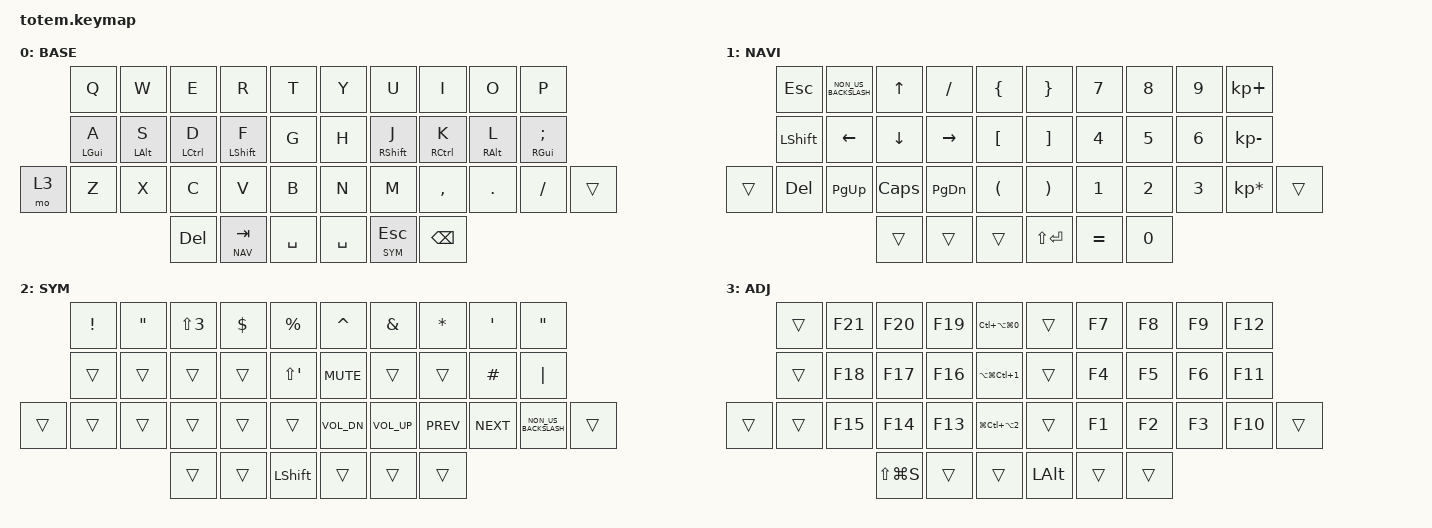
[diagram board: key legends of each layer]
//
//                                                        ▀▀▀▀▀     ▀▀▀▀▀          ▀▀█▀▀
//                                                        ▄▀▀▀▄  ▄  ▄▀▀▀▄  ▄  ▄▀▀▀▄  █  ▄▀▀▀▄
//                                                        █   █  █  █   █  █  █   █  █  █   █
//                                                         ▀▀▀   █   ▀▀▀   █   ▀▀▀   ▀   ▀▀▀
//                                                               █      ▄▄▄█▄▄▄    █   █  
//                                                               ▀      █  █  █     █▄█
//                                                             ▀▀▀▀▀    █  █  █      ▀
//                                                                      ▀  ▀  ▀
//
// ▄▄▄▄▄▄▄▄▄▄▄▄▄▄▄▄▄▄▄▄▄▄▄▄▄▄▄▄▄▄▄▄▄▄▄▄▄▄▄▄▄▄▄▄▄▄▄▄▄▄▄▄▄▄▄▄▄▄▄▄▄▄▄▄▄▄▄▄▄▄▄▄▄▄▄▄▄▄▄▄▄▄▄▄▄▄▄▄▄▄▄▄▄▄▄▄▄▄▄▄▄▄▄▄▄▄▄▄▄▄▄▄▄▄▄▄▄▄▄▄▄▄▄▄▄▄▄▄▄▄▄▄▄▄▄▄▄▄▄▄▄▄▄▄▄▄▄▄▄

#include <behaviors.dtsi>
#include <dt-bindings/zmk/keys.h>

#define BASE 0
#define NAV  1
#define SYM  2
#define ADJ  3

&mt {
    quick-tap-ms = <200>;
    global-quick-tap;
    flavor = "tap-preferred";
    tapping-term-ms = <400>;
};

/ {
    combos {
        compatible = "zmk,combos";

        combo_esc {
            timeout-ms = <50>;
            key-positions = <0 1>;
            bindings = <&kp ESC>;
        };

        Enter {
            bindings = <&kp ENTER>;
            key-positions = <34 35>;
        };
    };

    keymap {
        compatible = "zmk,keymap";

        // ▄▄▄▄▄▄▄▄▄▄▄▄▄▄▄▄▄▄▄▄▄▄▄▄▄▄▄▄▄▄▄▄▄▄▄▄▄▄▄▄▄▄▄▄▄▄▄▄▄▄▄▄▄▄▄▄▄▄▄▄▄▄▄▄▄▄▄▄▄▄▄▄▄▄▄▄▄▄▄▄▄▄▄▄▄▄▄▄▄▄▄▄▄▄▄▄▄▄▄▄▄▄▄▄▄▄▄▄▄▄▄▄▄▄▄▄▄▄▄▄▄▄▄▄▄▄▄▄▄▄▄▄▄▄▄▄▄▄▄▄▄▄▄▄▄▄▄▄▄

        base_layer {
            // ┏━━━━━━━━━━━━━━━━━━━━━━━━━━━━━━━━━━━━━━━┓

            label = "BASE";

            // ┗━━━━━━━━━━━━━━━━━━━━━━━━━━━━━━━━━━━━━━━┛
            //             ┏━━━━━━━━━━━┳━━━━━━━━━━━┳━━━━━━━━━━━┳━━━━━━━━━━━┳━━━━━━━━━━━┓   ┏━━━━━━━━━━━┳━━━━━━━━━━━┳━━━━━━━━━━━┳━━━━━━━━━━━┳━━━━━━━━━━━┓
            //             ┃     Q     ┃     W     ┃     E     ┃     R     ┃     T     ┃   ┃     Y     ┃     U     ┃     I     ┃     O     ┃     P     ┃
            //             ┣━━━━━━━━━━━╋━━━━━━━━━━━╋━━━━━━━━━━━╋━━━━━━━━━━━╋━━━━━━━━━━━┫   ┣━━━━━━━━━━━╋━━━━━━━━━━━╋━━━━━━━━━━━╋━━━━━━━━━━━╋━━━━━━━━━━━┫
            //             ┃     A     ┃     S     ┃     D     ┃     F     ┃     G     ┃   ┃     H     ┃     J     ┃     K     ┃     L     ┃     ;     ┃
            // ┏━━━━━━━━━━━╋━━━━━━━━━━━╋━━━━━━━━━━━╋━━━━━━━━━━━╋━━━━━━━━━━━╋━━━━━━━━━━━┫   ┣━━━━━━━━━━━╋━━━━━━━━━━━╋━━━━━━━━━━━╋━━━━━━━━━━━╋━━━━━━━━━━━╋━━━━━━━━━━━┓
            // ┃     q     ┃     Z     ┃     X     ┃     C     ┃     V     ┃     B     ┃   ┃     N     ┃     M     ┃     ,     ┃     .     ┃     /     ┃     \     ┃
            // ┗━━━━━━━━━━━┻━━━━━━━━━━━┻━━━━━━━━━━━╋━━━━━━━━━━━╋━━━━━━━━━━━╋━━━━━━━━━━━┫   ┣━━━━━━━━━━━╋━━━━━━━━━━━╋━━━━━━━━━━━╋━━━━━━━━━━━┻━━━━━━━━━━━┻━━━━━━━━━━━┛
            //                                     ┃    DEL    ┃    TAB    ┃    SPC    ┃   ┃   ENTER   ┃           ┃   BSPC    ┃
            //                                     ┗━━━━━━━━━━━┻━━━━━━━━━━━┻━━━━━━━━━━━┛   ┗━━━━━━━━━━━┻━━━━━━━━━━━┻━━━━━━━━━━━┛

            bindings = <
       &kp Q       &kp W       &kp E        &kp R        &kp T        &kp Y      &kp U        &kp I        &kp O       &kp P
       &mt LGUI A  &mt LALT S  &mt LCTRL D  &mt LSHFT F  &kp G        &kp H      &mt RSHFT J  &mt RCTRL K  &mt RALT L  &mt RGUI SEMI
&mo 3  &kp Z       &kp X       &kp C        &kp V        &kp B        &kp N      &kp M        &kp COMMA    &kp DOT     &kp FSLH       &trans
                               &kp DEL      &lt NAV TAB  &kp SPACE    &kp SPACE  &lt SYM ESC  &kp BSPC
            >;
        };

        // ▄▄▄▄▄▄▄▄▄▄▄▄▄▄▄▄▄▄▄▄▄▄▄▄▄▄▄▄▄▄▄▄▄▄▄▄▄▄▄▄▄▄▄▄▄▄▄▄▄▄▄▄▄▄▄▄▄▄▄▄▄▄▄▄▄▄▄▄▄▄▄▄▄▄▄▄▄▄▄▄▄▄▄▄▄▄▄▄▄▄▄▄▄▄▄▄▄▄▄▄▄▄▄▄▄▄▄▄▄▄▄▄▄▄▄▄▄▄▄▄▄▄▄▄▄▄▄▄▄▄▄▄▄▄▄▄▄▄▄▄▄▄▄▄▄▄▄▄▄

        nav_layer {
            // ┏━━━━━━━━━━━━━━━━━━━━━━━━━━━━━━━━━━━━━━━┓

            label = "NAVI";

            // ┗━━━━━━━━━━━━━━━━━━━━━━━━━━━━━━━━━━━━━━━┛
            //             ┏━━━━━━━━━━━┳━━━━━━━━━━━┳━━━━━━━━━━━┳━━━━━━━━━━━┳━━━━━━━━━━━┓   ┏━━━━━━━━━━━┳━━━━━━━━━━━┳━━━━━━━━━━━┳━━━━━━━━━━━┳━━━━━━━━━━━┓
            //             ┃           ┃           ┃     UP    ┃           ┃     {     ┃   ┃     }     ┃     7     ┃     8     ┃     9     ┃     +     ┃
            //             ┣━━━━━━━━━━━╋━━━━━━━━━━━╋━━━━━━━━━━━╋━━━━━━━━━━━╋━━━━━━━━━━━┫   ┣━━━━━━━━━━━╋━━━━━━━━━━━╋━━━━━━━━━━━╋━━━━━━━━━━━╋━━━━━━━━━━━┫
            //             ┃   SHIFT   ┃   LEFT    ┃    DOWN   ┃   RIGHT   ┃     [     ┃   ┃     ]     ┃     4     ┃     5     ┃     6     ┃     -     ┃
            // ┏━━━━━━━━━━━╋━━━━━━━━━━━╋━━━━━━━━━━━╋━━━━━━━━━━━╋━━━━━━━━━━━╋━━━━━━━━━━━┫   ┣━━━━━━━━━━━╋━━━━━━━━━━━╋━━━━━━━━━━━╋━━━━━━━━━━━╋━━━━━━━━━━━╋━━━━━━━━━━━┓
            // ┃           ┃           ┃   P UP    ┃  C LOCK   ┃  P DOWN   ┃     (     ┃   ┃     )     ┃     1     ┃     2     ┃     3     ┃     *     ┃           ┃
            // ┗━━━━━━━━━━━┻━━━━━━━━━━━┻━━━━━━━━━━━╋━━━━━━━━━━━╋━━━━━━━━━━━╋━━━━━━━━━━━┫   ┣━━━━━━━━━━━╋━━━━━━━━━━━╋━━━━━━━━━━━╋━━━━━━━━━━━┻━━━━━━━━━━━┻━━━━━━━━━━━┛
            //                                     ┃           ┃    TAB    ┃    SPC    ┃   ┃    DEL    ┃     0     ┃           ┃
            //                                     ┗━━━━━━━━━━━┻━━━━━━━━━━━┻━━━━━━━━━━━┛   ┗━━━━━━━━━━━┻━━━━━━━━━━━┻━━━━━━━━━━━┛

            bindings = <
        &kp ESC    &kp NON_US_BACKSLASH  &kp UP    &kp FSLH   &kp LBRC    &kp RBRC       &kp N7        &kp N8        &kp N9        &kp KP_PLUS
        &kp LSHFT  &kp LEFT              &kp DOWN  &kp RIGHT  &kp LBKT    &kp RBKT       &kp NUMBER_4  &kp N5        &kp NUMBER_6  &kp KP_MINUS
&trans  &kp DEL    &kp PG_UP             &kp CAPS  &kp PG_DN  &kp LPAR    &kp RPAR       &kp NUMBER_1  &kp NUMBER_2  &kp NUMBER_3  &kp KP_MULTIPLY  &trans
                                         &trans    &trans     &trans      &kp LS(ENTER)  &kp EQUAL     &kp N0
            >;
        };

        // ▄▄▄▄▄▄▄▄▄▄▄▄▄▄▄▄▄▄▄▄▄▄▄▄▄▄▄▄▄▄▄▄▄▄▄▄▄▄▄▄▄▄▄▄▄▄▄▄▄▄▄▄▄▄▄▄▄▄▄▄▄▄▄▄▄▄▄▄▄▄▄▄▄▄▄▄▄▄▄▄▄▄▄▄▄▄▄▄▄▄▄▄▄▄▄▄▄▄▄▄▄▄▄▄▄▄▄▄▄▄▄▄▄▄▄▄▄▄▄▄▄▄▄▄▄▄▄▄▄▄▄▄▄▄▄▄▄▄▄▄▄▄▄▄▄▄▄▄▄

        sim_layer {
            // ┏━━━━━━━━━━━━━━━━━━━━━━━━━━━━━━━━━━━━━━━┓

            label = "SYM";

            // ┗━━━━━━━━━━━━━━━━━━━━━━━━━━━━━━━━━━━━━━━┛
            //             ┏━━━━━━━━━━━┳━━━━━━━━━━━┳━━━━━━━━━━━┳━━━━━━━━━━━┳━━━━━━━━━━━┓   ┏━━━━━━━━━━━┳━━━━━━━━━━━┳━━━━━━━━━━━┳━━━━━━━━━━━┳━━━━━━━━━━━┓
            //             ┃     !     ┃     @     ┃     #     ┃     $     ┃     %     ┃   ┃     ˆ     ┃     &     ┃     Ü     ┃     '     ┃     "     ┃
            //             ┣━━━━━━━━━━━╋━━━━━━━━━━━╋━━━━━━━━━━━╋━━━━━━━━━━━╋━━━━━━━━━━━┫   ┣━━━━━━━━━━━╋━━━━━━━━━━━╋━━━━━━━━━━━╋━━━━━━━━━━━╋━━━━━━━━━━━┫
            //             ┃     Ä     ┃           ┃    SZ     ┃           ┃           ┃   ┃   MUTE    ┃   YEN     ┃   EURO    ┃  POUND    ┃     Ö     ┃
            // ┏━━━━━━━━━━━╋━━━━━━━━━━━╋━━━━━━━━━━━╋━━━━━━━━━━━╋━━━━━━━━━━━╋━━━━━━━━━━━┫   ┣━━━━━━━━━━━╋━━━━━━━━━━━╋━━━━━━━━━━━╋━━━━━━━━━━━╋━━━━━━━━━━━╋━━━━━━━━━━━┓
            // ┃           ┃  EMAIL1   ┃  EMAIL2   ┃           ┃           ┃           ┃   ┃   VOL-    ┃   VOL+    ┃   LAST    ┃   NEXT    ┃     \     ┃           ┃
            // ┗━━━━━━━━━━━┻━━━━━━━━━━━┻━━━━━━━━━━━╋━━━━━━━━━━━╋━━━━━━━━━━━╋━━━━━━━━━━━┫   ┣━━━━━━━━━━━╋━━━━━━━━━━━╋━━━━━━━━━━━╋━━━━━━━━━━━┻━━━━━━━━━━━┻━━━━━━━━━━━┛
            //                                     ┃           ┃    GIF    ┃    ADJ    ┃   ┃           ┃           ┃           ┃
            //                                     ┗━━━━━━━━━━━┻━━━━━━━━━━━┻━━━━━━━━━━━┛   ┗━━━━━━━━━━━┻━━━━━━━━━━━┻━━━━━━━━━━━┛

            bindings = <
        &kp EXCL  &kp DOUBLE_QUOTES  &kp LS(NUMBER_3)  &kp DLLR  &kp PRCNT         &kp CARET     &kp AMPS      &kp STAR    &kp SQT     &kp DQT
        &trans    &trans             &trans            &trans    &kp LS(SQT)       &kp C_MUTE    &trans        &trans      &kp HASH    &kp PIPE
&trans  &trans    &trans             &trans            &trans    &trans            &kp C_VOL_DN  &kp C_VOL_UP  &kp C_PREV  &kp C_NEXT  &kp NON_US_BACKSLASH  &trans
                                     &trans            &trans    &kp LEFT_SHIFT    &trans        &trans        &trans
            >;
        };

        // ▄▄▄▄▄▄▄▄▄▄▄▄▄▄▄▄▄▄▄▄▄▄▄▄▄▄▄▄▄▄▄▄▄▄▄▄▄▄▄▄▄▄▄▄▄▄▄▄▄▄▄▄▄▄▄▄▄▄▄▄▄▄▄▄▄▄▄▄▄▄▄▄▄▄▄▄▄▄▄▄▄▄▄▄▄▄▄▄▄▄▄▄▄▄▄▄▄▄▄▄▄▄▄▄▄▄▄▄▄▄▄▄▄▄▄▄▄▄▄▄▄▄▄▄▄▄▄▄▄▄▄▄▄▄▄▄▄▄▄▄▄▄▄▄▄▄▄▄▄

        adjust_layer {
            // ┏━━━━━━━━━━━━━━━━━━━━━━━━━━━━━━━━━━━━━━━┓

            label = "ADJ";

            // ┗━━━━━━━━━━━━━━━━━━━━━━━━━━━━━━━━━━━━━━━┛
            //             ┏━━━━━━━━━━━┳━━━━━━━━━━━┳━━━━━━━━━━━┳━━━━━━━━━━━┳━━━━━━━━━━━┓   ┏━━━━━━━━━━━┳━━━━━━━━━━━┳━━━━━━━━━━━┳━━━━━━━━━━━┳━━━━━━━━━━━┓
            //             ┃   RESET   ┃ BT CLEAR  ┃  OUT TOG  ┃           ┃           ┃   ┃           ┃    F7     ┃    F8     ┃    F9     ┃    F12    ┃
            //             ┣━━━━━━━━━━━╋━━━━━━━━━━━╋━━━━━━━━━━━╋━━━━━━━━━━━╋━━━━━━━━━━━┫   ┣━━━━━━━━━━━╋━━━━━━━━━━━╋━━━━━━━━━━━╋━━━━━━━━━━━╋━━━━━━━━━━━┫
            //             ┃ BOOTLOAD  ┃ BT NEXT   ┃           ┃           ┃           ┃   ┃           ┃    F4     ┃    F5     ┃    F6     ┃    F11    ┃
            // ┏━━━━━━━━━━━╋━━━━━━━━━━━╋━━━━━━━━━━━╋━━━━━━━━━━━╋━━━━━━━━━━━╋━━━━━━━━━━━┫   ┣━━━━━━━━━━━╋━━━━━━━━━━━╋━━━━━━━━━━━╋━━━━━━━━━━━╋━━━━━━━━━━━╋━━━━━━━━━━━┓
            // ┃           ┃           ┃ BT PREV   ┃           ┃           ┃           ┃   ┃           ┃    F1     ┃    F2     ┃    F3     ┃    F10    ┃           ┃
            // ┗━━━━━━━━━━━┻━━━━━━━━━━━┻━━━━━━━━━━━╋━━━━━━━━━━━╋━━━━━━━━━━━╋━━━━━━━━━━━┫   ┣━━━━━━━━━━━╋━━━━━━━━━━━╋━━━━━━━━━━━╋━━━━━━━━━━━┻━━━━━━━━━━━┻━━━━━━━━━━━┛
            //                                     ┃           ┃           ┃           ┃   ┃           ┃           ┃           ┃
            //                                     ┗━━━━━━━━━━━┻━━━━━━━━━━━┻━━━━━━━━━━━┛   ┗━━━━━━━━━━━┻━━━━━━━━━━━┻━━━━━━━━━━━┛

            bindings = <
        &trans  &kp F21  &kp F20        &kp F19  &kp LC(LA(LG(N0)))          &trans        &kp F7  &kp F8  &kp F9  &kp F12
        &trans  &kp F18  &kp F17        &kp F16  &kp LA(LG(LC(NUMBER_1)))    &trans        &kp F4  &kp F5  &kp F6  &kp F11
&trans  &trans  &kp F15  &kp F14        &kp F13  &kp LG(LC(LA(NUMBER_2)))    &trans        &kp F1  &kp F2  &kp F3  &kp F10  &trans
                         &kp LS(LG(S))  &trans   &trans                      &kp LEFT_ALT  &trans  &trans
            >;
        };
    };
};
